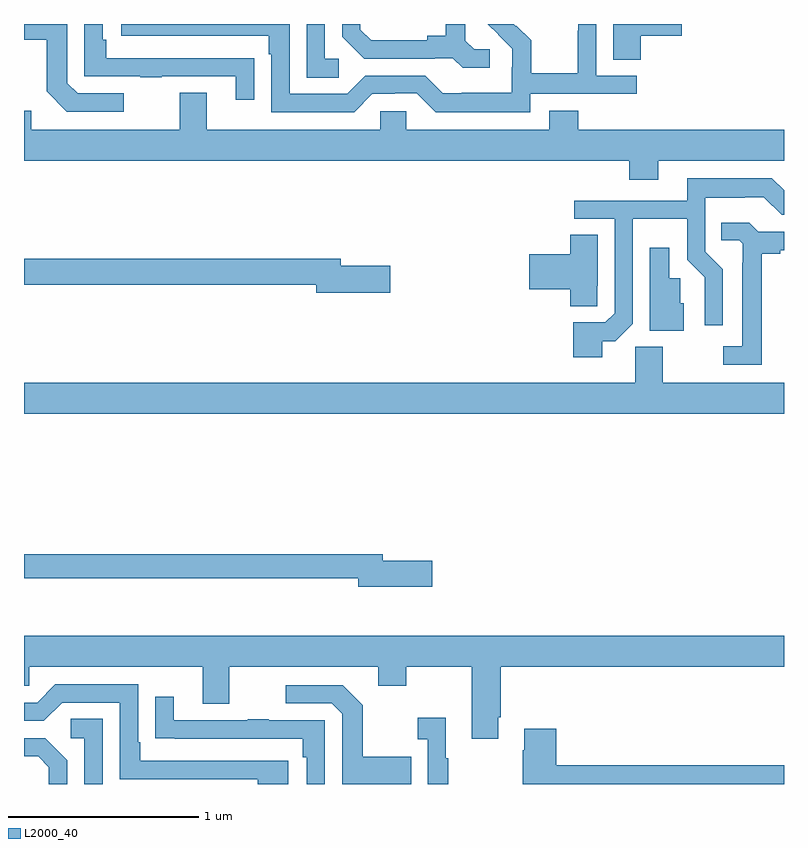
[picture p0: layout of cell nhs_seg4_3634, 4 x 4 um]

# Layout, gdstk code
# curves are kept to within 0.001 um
import gdstk
lib = gdstk.Library(unit=1e-6, precision=1e-09)
def R(c, l, rs):  # rectangles x0, y0, x1, y1
    for r in rs: c.add(gdstk.rectangle(r[:2], r[2:], *l))
def P(c, l, *ps):  # polygons
    for p in ps: c.add(gdstk.Polygon(p, *l))
L2000_40 = (2000, 40)

nhs_seg4_3634 = lib.new_cell('nhs_seg4_3634')
R(nhs_seg4_3634, L2000_40, [(304.902,770.899,305.047,770.9)])
P(nhs_seg4_3634, L2000_40, [(303.526,770.535),(303.282,770.535),(303.228,770.589),(303.228,770.9),(303,770.9),(303,770.818),(303.12,770.818),(303.12,770.545),(303.225,770.439),(303.526,770.439)],
  [(305.452,770.766),(305.37,770.766),(305.323,770.813),(305.323,770.9),(305.219,770.9),(305.219,770.837),(305.123,770.837),(305.123,770.814),(304.828,770.814),(304.771,770.871),(304.771,770.9),(304.674,770.9),(304.674,770.834),(304.79,770.718),(305.162,770.718),(305.162,770.721),(305.256,770.721),(305.308,770.669),(305.452,770.669)],
  [(305.664,770.532),(306.226,770.532),(306.226,770.628),(306.012,770.628),(306.012,770.9),(305.916,770.9),(305.916,770.864),(305.914,770.864),(305.914,770.641),(305.669,770.641),(305.669,770.815),(305.592,770.892),(305.589,770.889),(305.578,770.9),(305.442,770.9),(305.57,770.77),(305.57,770.673),(305.568,770.673),(305.568,770.539),(305.305,770.539),(305.305,770.535),(305.205,770.535),(305.112,770.628),(304.797,770.628),(304.701,770.532),(304.398,770.532),(304.398,770.9),(303.513,770.9),(303.513,770.838),(304.289,770.838),(304.289,770.741),(304.302,770.741),(304.302,770.436),(304.737,770.436),(304.833,770.532),(304.952,770.532),(304.952,770.535),(305.067,770.535),(305.167,770.435),(305.664,770.435)],
  [(304.211,770.72),(304.109,770.72),(304.109,770.721),(303.434,770.721),(303.434,770.818),(303.414,770.818),(303.414,770.9),(303.318,770.9),(303.318,770.625),(303.613,770.625),(303.613,770.62),(303.725,770.62),(303.725,770.625),(304.115,770.625),(304.115,770.502),(304.211,770.502)],
  [(304.657,770.718),(304.584,770.718),(304.584,770.9),(304.488,770.9),(304.488,770.617),(304.657,770.617)],
  [(306.245,770.837),(306.463,770.837),(306.463,770.9),(306.101,770.9),(306.101,770.713),(306.245,770.713)],
  [(306.337,770.18),(307,770.18),(307,770.344),(305.918,770.344),(305.918,770.443),(305.765,770.443),(305.765,770.344),(305.013,770.344),(305.013,770.442),(304.875,770.442),(304.875,770.344),(303.961,770.344),(303.961,770.539),(303.821,770.539),(303.821,770.344),(303.037,770.344),(303.037,770.443),(303,770.443),(303,770.18),(306.185,770.18),(306.185,770.081),(306.337,770.081)],
  [(306.043,769.231),(306.111,769.231),(306.204,769.323),(306.204,769.874),(306.492,769.874),(306.492,769.658),(306.584,769.566),(306.584,769.314),(306.678,769.314),(306.678,769.608),(306.585,769.701),(306.585,769.985),(306.794,769.985),(306.794,769.989),(306.894,769.989),(306.987,769.896),(307,769.896),(307,770.024),(306.935,770.089),(306.491,770.089),(306.491,769.971),(305.895,769.971),(305.895,769.875),(306.108,769.875),(306.108,769.377),(306.06,769.329),(305.891,769.329),(305.891,769.146),(306.043,769.146)],
  [(306.883,769.69),(306.979,769.69),(306.979,769.71),(307,769.71),(307,769.806),(306.864,769.806),(306.816,769.853),(306.67,769.853),(306.67,769.761),(306.765,769.761),(306.783,769.743),(306.783,769.643),(306.779,769.643),(306.779,769.203),(306.681,769.203),(306.681,769.107),(306.883,769.107)],
  [(306.018,769.522),(306.019,769.522),(306.019,769.79),(305.876,769.79),(305.876,769.688),(305.658,769.688),(305.658,769.505),(305.876,769.505),(305.876,769.414),(306.018,769.414)],
  [(306.472,769.431),(306.453,769.431),(306.453,769.563),(306.397,769.563),(306.397,769.723),(306.293,769.723),(306.293,769.286),(306.472,769.286)],
  [(304.927,769.628),(304.666,769.628),(304.666,769.664),(303,769.664),(303,769.528),(304.538,769.528),(304.538,769.486),(304.927,769.486)],
  [(307,769.012),(306.363,769.012),(306.363,769.201),(306.216,769.201),(306.216,769.012),(303,769.012),(303,768.848),(307,768.848)],
  [(305.149,768.074),(304.888,768.074),(304.888,768.11),(303,768.11),(303,767.982),(304.76,767.982),(304.76,767.939),(305.149,767.939)],
  [(305.497,767.251),(305.51,767.251),(305.51,767.516),(307,767.516),(307,767.68),(303,767.68),(303,767.418),(303.027,767.418),(303.027,767.516),(303.941,767.516),(303.941,767.322),(304.081,767.322),(304.081,767.516),(304.865,767.516),(304.865,767.417),(305.013,767.417),(305.013,767.516),(305.357,767.516),(305.357,767.139),(305.497,767.139)],
  [(304.39,767.022),(303.613,767.022),(303.613,767.119),(303.6,767.119),(303.6,767.424),(303.165,767.424),(303.069,767.328),(303,767.328),(303,767.232),(303.105,767.232),(303.201,767.328),(303.504,767.328),(303.504,766.926),(304.229,766.926),(304.229,766.9),(304.39,766.9)],
  [(305.039,767.043),(304.783,767.043),(304.783,767.315),(304.677,767.421),(304.377,767.421),(304.377,767.325),(304.62,767.325),(304.674,767.271),(304.674,766.9),(305.039,766.9)],
  [(304.584,767.235),(304.289,767.235),(304.289,767.24),(304.177,767.24),(304.177,767.235),(303.787,767.235),(303.787,767.359),(303.691,767.359),(303.691,767.14),(303.793,767.14),(303.793,767.139),(304.468,767.139),(304.468,767.042),(304.488,767.042),(304.488,766.9),(304.584,766.9)],
  [(305.233,767.035),(305.221,767.035),(305.221,767.248),(305.073,767.248),(305.073,767.135),(305.124,767.135),(305.124,766.9),(305.233,766.9)],
  [(303.414,767.243),(303.246,767.243),(303.246,767.142),(303.318,767.142),(303.318,766.9),(303.414,766.9)],
  [(307,767),(305.801,767),(305.801,767.191),(305.633,767.191),(305.633,767.078),(305.626,767.078),(305.626,766.9),(307,766.9)],
  [(303.228,767.026),(303.112,767.142),(303,767.142),(303,767.046),(303.074,767.046),(303.131,766.989),(303.131,766.9),(303.228,766.9)])

lib.write_gds('nhs_seg4_3634.gds')
